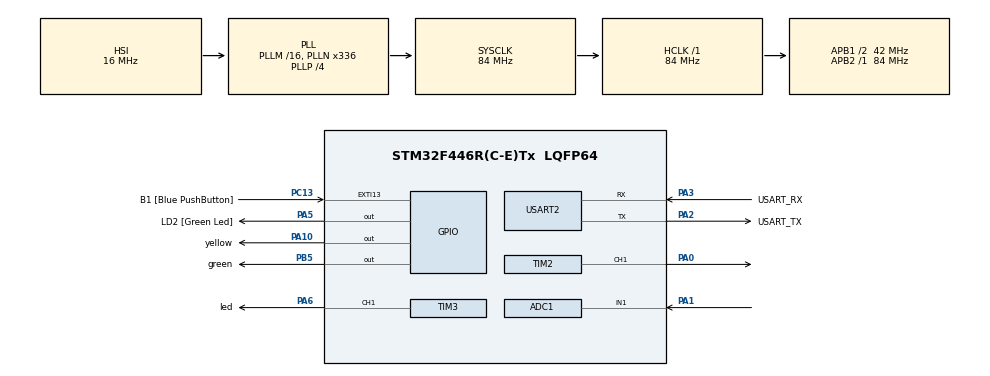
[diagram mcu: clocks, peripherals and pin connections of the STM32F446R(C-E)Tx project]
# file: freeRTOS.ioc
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ADC1.Channel-0\#ChannelRegularConversion=ADC_CHANNEL_1
ADC1.NbrOfConversionFlag=1
ADC1.Rank-0\#ChannelRegularConversion=1
ADC1.SamplingTime-0\#ChannelRegularConversion=ADC_SAMPLETIME_3CYCLES
ADC1.master=1
FREERTOS.Tasks01=defaultTask,16,128,StartDefaultTask,Default,NULL,Dynamic,NULL,NULL;myTask02,16,128,StartTask02,Default,NULL,Dynamic,NULL,NULL;myTask03,16,128,StartTask03,Default,NULL,Dynamic,NULL,NULL;myTask04,16,128,StartTask04,Default,NULL,Dynamic,NULL,NULL
FREERTOS.configUSE_NEWLIB_REENTRANT=1
Mcu.Family=STM32F4
Mcu.Name=STM32F446R(C-E)Tx
Mcu.Package=LQFP64
NVIC.PriorityGroup=NVIC_PRIORITYGROUP_4
NVIC.TIM6_DAC_IRQn=true\:15\:0\:false\:false\:true\:false\:false\:true\:true
NVIC.TimeBase=TIM6_DAC_IRQn
NVIC.TimeBaseIP=TIM6
PA0-WKUP.Signal=S_TIM2_CH1_ETR
PA1.Signal=ADCx_IN1
PA10.GPIO_Label=yellow
PA10.Signal=GPIO_Output
PA13.GPIO_Label=TMS
PA13.Mode=Serial_Wire
PA13.Signal=SYS_JTMS-SWDIO
PA14.GPIO_Label=TCK
PA14.Mode=Serial_Wire
PA14.Signal=SYS_JTCK-SWCLK
PA2.GPIO_Label=USART_TX
PA2.Mode=Asynchronous
PA2.Signal=USART2_TX
PA3.GPIO_Label=USART_RX
PA3.Mode=Asynchronous
PA3.Signal=USART2_RX
PA5.GPIO_Label=LD2 [Green Led]
PA5.Signal=GPIO_Output
PA6.GPIO_Label=led
PA6.Signal=S_TIM3_CH1
PB3.GPIO_Label=SWO
PB3.Signal=SYS_JTDO-SWO
PB5.GPIO_Label=green
PB5.Signal=GPIO_Output
PC13.GPIO_Label=B1 [Blue PushButton]
PC13.GPIO_ModeDefaultEXTI=GPIO_MODE_IT_FALLING
PC13.Signal=GPXTI13
PC14-OSC32_IN.Mode=LSE-External-Oscillator
PC14-OSC32_IN.Signal=RCC_OSC32_IN
PC15-OSC32_OUT.Mode=LSE-External-Oscillator
PC15-OSC32_OUT.Signal=RCC_OSC32_OUT
PH0-OSC_IN.Mode=HSE-External-Oscillator
PH0-OSC_IN.Signal=RCC_OSC_IN
PH1-OSC_OUT.Mode=HSE-External-Oscillator
PH1-OSC_OUT.Signal=RCC_OSC_OUT
ProjectManager.HeapSize=0x200
ProjectManager.StackSize=0x400
ProjectManager.TargetToolchain=STM32CubeIDE
RCC.48MHZClocksFreq_Value=84000000
RCC.AHBFreq_Value=84000000
RCC.APB1CLKDivider=RCC_HCLK_DIV2
RCC.APB1Freq_Value=42000000
RCC.APB1TimFreq_Value=84000000
RCC.APB2Freq_Value=84000000
RCC.APB2TimFreq_Value=84000000
RCC.CortexFreq_Value=84000000
RCC.FLatency-AdvancedSettings=FLASH_LATENCY_2
RCC.HCLKFreq_Value=84000000
RCC.HSE_VALUE=8000000
RCC.HSI_VALUE=16000000
RCC.PLLN=336
RCC.PLLP=RCC_PLLP_DIV4
RCC.SYSCLKFreq_VALUE=84000000
RCC.SYSCLKSource=RCC_SYSCLKSOURCE_PLLCLK
RCC.USBFreq_Value=168000000
RCC.VCOOutputFreq_Value=336000000
SH.ADCx_IN1.0=ADC1_IN1,IN1
SH.S_TIM2_CH1_ETR.0=TIM2_CH1,PWM Generation1 CH1
SH.S_TIM3_CH1.0=TIM3_CH1,PWM Generation1 CH1
TIM2.Channel-PWM\ Generation1\ CH1=TIM_CHANNEL_1
TIM3.Channel-PWM\ Generation1\ CH1=TIM_CHANNEL_1
USART2.VirtualMode=VM_ASYNC
VP_FREERTOS_VS_CMSIS_V2.Mode=CMSIS_V2
VP_SYS_VS_tim6.Mode=TIM6
VP_TIM2_VS_ClockSourceINT.Mode=Internal
board=NUCLEO-F446RE

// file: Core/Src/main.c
/* USER CODE BEGIN Header */
/**
  ******************************************************************************
  * @file           : main.c
  * @brief          : Main program body
  ******************************************************************************
  * @attention
  *
  * Copyright (c) 2023 STMicroelectronics.
  * All rights reserved.
  *
  * This software is licensed under terms that can be found in the LICENSE file
  * in the root directory of this software component.
  * If no LICENSE file comes with this software, it is provided AS-IS.
  *
  ******************************************************************************
  */
/* USER CODE END Header */
#include "main.h"
#include "cmsis_os.h"
#include "adc.h"
#include "tim.h"
#include "usart.h"
#include "gpio.h"

void SystemClock_Config(void);
void MX_FREERTOS_Init(void);

int main(void)
{

  /* MCU Configuration--------------------------------------------------------*/

  /* Reset of all peripherals, Initializes the Flash interface and the Systick. */
  HAL_Init();

  /* Configure the system clock */
  SystemClock_Config();

  /* Initialize all configured peripherals */
  MX_GPIO_Init();
  MX_USART2_UART_Init();
  MX_TIM2_Init();
  MX_ADC1_Init();
  MX_TIM3_Init();

  /* Init scheduler */
  osKernelInitialize();  /* Call init function for freertos objects (in freertos.c) */
  MX_FREERTOS_Init();

  /* Start scheduler */
  osKernelStart();

  /* We should never get here as control is now taken by the scheduler */
  /* Infinite loop */
  while (1)
  {

  }
}

void SystemClock_Config(void)
{
  RCC_OscInitTypeDef RCC_OscInitStruct = {0};
  RCC_ClkInitTypeDef RCC_ClkInitStruct = {0};

  /** Configure the main internal regulator output voltage
  */
  __HAL_RCC_PWR_CLK_ENABLE();
  __HAL_PWR_VOLTAGESCALING_CONFIG(PWR_REGULATOR_VOLTAGE_SCALE3);

  /** Initializes the RCC Oscillators according to the specified parameters
  * in the RCC_OscInitTypeDef structure.
  */
  RCC_OscInitStruct.OscillatorType = RCC_OSCILLATORTYPE_HSI;
  RCC_OscInitStruct.HSIState = RCC_HSI_ON;
  RCC_OscInitStruct.HSICalibrationValue = RCC_HSICALIBRATION_DEFAULT;
  RCC_OscInitStruct.PLL.PLLState = RCC_PLL_ON;
  RCC_OscInitStruct.PLL.PLLSource = RCC_PLLSOURCE_HSI;
  RCC_OscInitStruct.PLL.PLLM = 16;
  RCC_OscInitStruct.PLL.PLLN = 336;
  RCC_OscInitStruct.PLL.PLLP = RCC_PLLP_DIV4;
  RCC_OscInitStruct.PLL.PLLQ = 2;
  RCC_OscInitStruct.PLL.PLLR = 2;
  if (HAL_RCC_OscConfig(&RCC_OscInitStruct) != HAL_OK)
  {
    Error_Handler();
  }

  /** Initializes the CPU, AHB and APB buses clocks
  */
  RCC_ClkInitStruct.ClockType = RCC_CLOCKTYPE_HCLK|RCC_CLOCKTYPE_SYSCLK
                              |RCC_CLOCKTYPE_PCLK1|RCC_CLOCKTYPE_PCLK2;
  RCC_ClkInitStruct.SYSCLKSource = RCC_SYSCLKSOURCE_PLLCLK;
  RCC_ClkInitStruct.AHBCLKDivider = RCC_SYSCLK_DIV1;
  RCC_ClkInitStruct.APB1CLKDivider = RCC_HCLK_DIV2;
  RCC_ClkInitStruct.APB2CLKDivider = RCC_HCLK_DIV1;

  if (HAL_RCC_ClockConfig(&RCC_ClkInitStruct, FLASH_LATENCY_2) != HAL_OK)
  {
    Error_Handler();
  }
}

void HAL_TIM_PeriodElapsedCallback(TIM_HandleTypeDef *htim)
{
  if (htim->Instance == TIM6) {
    HAL_IncTick();
  }
}

void Error_Handler(void)
{
  __disable_irq();
  while (1)
  {
  }
}

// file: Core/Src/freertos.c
/* USER CODE BEGIN Header */
/**
 ******************************************************************************
 * File Name          : freertos.c
 * Description        : Code for freertos applications
 ******************************************************************************
 * @attention
 *
 * Copyright (c) 2023 STMicroelectronics.
 * All rights reserved.
 *
 * This software is licensed under terms that can be found in the LICENSE file
 * in the root directory of this software component.
 * If no LICENSE file comes with this software, it is provided AS-IS.
 *
 ******************************************************************************
 */
/* USER CODE END Header */

#include "FreeRTOS.h"
#include "task.h"
#include "main.h"
#include "cmsis_os.h"
#include "adc.h"
#include "tim.h"
#include "usart.h"
#include "gpio.h"

/* USER CODE BEGIN PD */
int adc_value;
char adc_value_c[10];

/* USER CODE END PD */

/* Definitions for defaultTask */
osThreadId_t defaultTaskHandle;
const osThreadAttr_t defaultTask_attributes = {
    .name = "defaultTask",
    .stack_size = 128 * 4,
    .priority = (osPriority_t)osPriorityBelowNormal,
};
/* Definitions for myTask02 */
osThreadId_t myTask02Handle;
const osThreadAttr_t myTask02_attributes = {
    .name = "myTask02",
    .stack_size = 128 * 4,
    .priority = (osPriority_t)osPriorityBelowNormal,
};
/* Definitions for myTask03 */
osThreadId_t myTask03Handle;
const osThreadAttr_t myTask03_attributes = {
    .name = "myTask03",
    .stack_size = 128 * 4,
    .priority = (osPriority_t)osPriorityBelowNormal,
};
/* Definitions for myTask04 */
osThreadId_t myTask04Handle;
const osThreadAttr_t myTask04_attributes = {
    .name = "myTask04",
    .stack_size = 128 * 4,
    .priority = (osPriority_t)osPriorityBelowNormal,
};

void StartDefaultTask(void *argument);
void StartTask02(void *argument);
void StartTask03(void *argument);
void StartTask04(void *argument);

void MX_FREERTOS_Init(void); /* (MISRA C 2004 rule 8.1) */

void MX_FREERTOS_Init(void)
{

  /* Create the thread(s) */
  /* creation of defaultTask */
  defaultTaskHandle = osThreadNew(StartDefaultTask, NULL, &defaultTask_attributes);

  /* creation of myTask02 */
  myTask02Handle = osThreadNew(StartTask02, NULL, &myTask02_attributes);

  /* creation of myTask03 */
  myTask03Handle = osThreadNew(StartTask03, NULL, &myTask03_attributes);

  /* creation of myTask04 */
  myTask04Handle = osThreadNew(StartTask04, NULL, &myTask04_attributes);

}

void StartDefaultTask(void *argument)
{
  /* USER CODE BEGIN StartDefaultTask */
  /* Infinite loop */
  for (;;)
  {
    HAL_ADC_Start(&hadc1);
    adc_value = HAL_ADC_GetValue(&hadc1);
    if (HAL_GPIO_ReadPin(B1_GPIO_Port, B1_Pin) == 0)
    {
      sprintf(adc_value_c, "ADC value : %d \n", adc_value);
      HAL_UART_Transmit(&huart2, adc_value_c, strlen(adc_value_c), 100);
    }
    osDelay(100);
  }
  /* USER CODE END StartDefaultTask */
}

void StartTask02(void *argument)
{
  /* USER CODE BEGIN StartTask02 */
  /* Infinite loop */
  for (;;)
  {
    if (HAL_GPIO_ReadPin(B1_GPIO_Port, B1_Pin) == 0)
      HAL_GPIO_TogglePin(LD2_GPIO_Port, LD2_Pin);
    osDelay(100);
  }
  /* USER CODE END StartTask02 */
}

void StartTask03(void *argument)
{
  /* USER CODE BEGIN StartTask03 */
  /* Infinite loop */
  for (;;)
  {
    HAL_TIM_PWM_Start(&htim3, TIM_CHANNEL_1);
    __HAL_TIM_SetCompare(&htim3, TIM_CHANNEL_1, adc_value);
    osDelay(100);
  }
  /* USER CODE END StartTask03 */
}

void StartTask04(void *argument)
{
  /* USER CODE BEGIN StartTask04 */
  /* Infinite loop */
  for (;;)
  {
    HAL_GPIO_TogglePin(green_GPIO_Port, green_Pin);
    osDelay(250);
  }
  /* USER CODE END StartTask04 */
}
